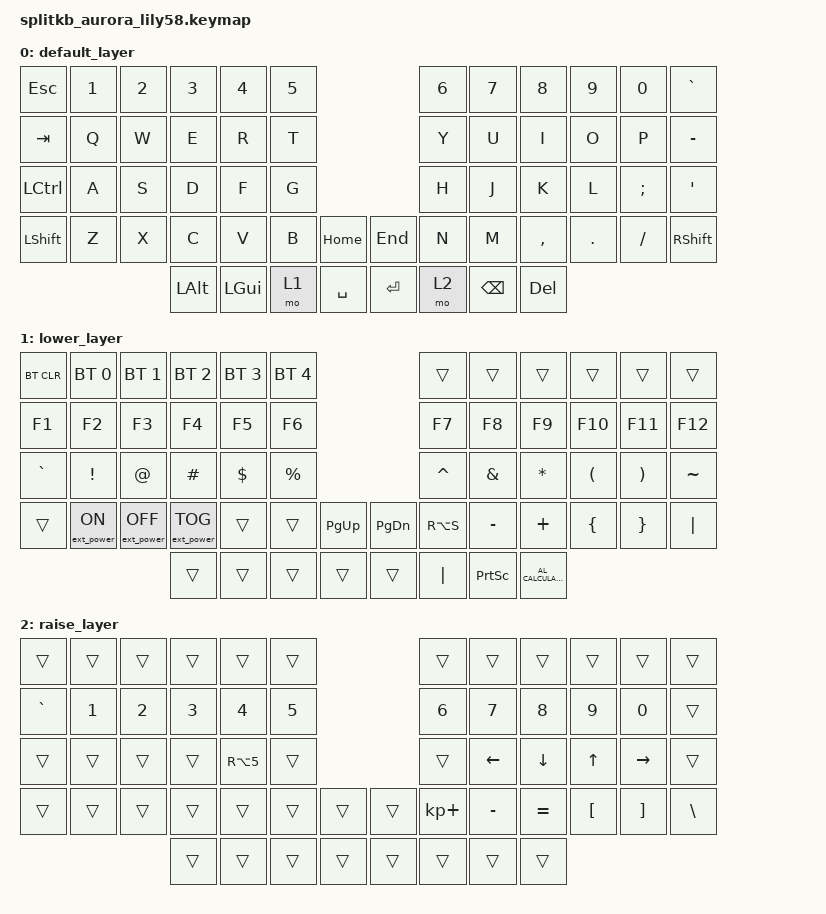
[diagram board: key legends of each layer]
/*
 * Copyright (c) 2022 The ZMK Contributors
 *
 * SPDX-License-Identifier: MIT
 */

#include <behaviors.dtsi>
#include <dt-bindings/zmk/bt.h>
#include <dt-bindings/zmk/ext_power.h>
#include <dt-bindings/zmk/keys.h>

/ {
    keymap {
        compatible = "zmk,keymap";

        default_layer {
            bindings = <
&kp ESC         &kp N1  &kp N2  &kp N3    &kp N4    &kp N5                        &kp N6  &kp N7    &kp N8     &kp N9   &kp N0    &kp GRAVE
&kp TAB         &kp Q   &kp W   &kp E     &kp R     &kp T                         &kp Y   &kp U     &kp I      &kp O    &kp P     &kp MINUS
&kp LCTRL       &kp A   &kp S   &kp D     &kp F     &kp G                         &kp H   &kp J     &kp K      &kp L    &kp SEMI  &kp SINGLE_QUOTE
&kp LEFT_SHIFT  &kp Z   &kp X   &kp C     &kp V     &kp B   &kp HOME     &kp END  &kp N   &kp M     &kp COMMA  &kp DOT  &kp FSLH  &kp RSHFT
                                &kp LALT  &kp LGUI  &mo 1   &kp SPACE    &kp RET  &mo 2   &kp BSPC  &kp DEL
            >;
        };

        lower_layer {
            bindings = <
&bt BT_CLR  &bt BT_SEL 0      &bt BT_SEL 1       &bt BT_SEL 2       &bt BT_SEL 3  &bt BT_SEL 4                                &trans     &trans           &trans               &trans    &trans    &trans
&kp F1      &kp F2            &kp F3             &kp F4             &kp F5        &kp F6                                      &kp F7     &kp F8           &kp F9               &kp F10   &kp F11   &kp F12
&kp GRAVE   &kp EXCL          &kp AT             &kp HASH           &kp DOLLAR    &kp PRCNT                                   &kp CARET  &kp AMPS         &kp STAR             &kp LPAR  &kp RPAR  &kp TILDE
&trans      &ext_power EP_ON  &ext_power EP_OFF  &ext_power EP_TOG  &trans        &trans        &kp PAGE_UP    &kp PAGE_DOWN  &kp RA(S)  &kp MINUS        &kp PLUS             &kp LBRC  &kp RBRC  &kp PIPE
                                                 &trans             &trans        &trans        &trans         &trans         &kp PIPE   &kp PRINTSCREEN  &kp C_AL_CALCULATOR
            >;
        };

        raise_layer {
            bindings = <
&trans     &trans  &trans  &trans  &trans      &trans                    &trans       &trans     &trans     &trans    &trans     &trans
&kp GRAVE  &kp N1  &kp N2  &kp N3  &kp N4      &kp N5                    &kp N6       &kp N7     &kp N8     &kp N9    &kp N0     &trans
&trans     &trans  &trans  &trans  &kp RA(N5)  &trans                    &trans       &kp LEFT   &kp DOWN   &kp UP    &kp RIGHT  &trans
&trans     &trans  &trans  &trans  &trans      &trans  &trans    &trans  &kp KP_PLUS  &kp MINUS  &kp EQUAL  &kp LBKT  &kp RBKT   &kp BSLH
                           &trans  &trans      &trans  &trans    &trans  &trans       &trans     &trans
            >;
        };
    };
};
